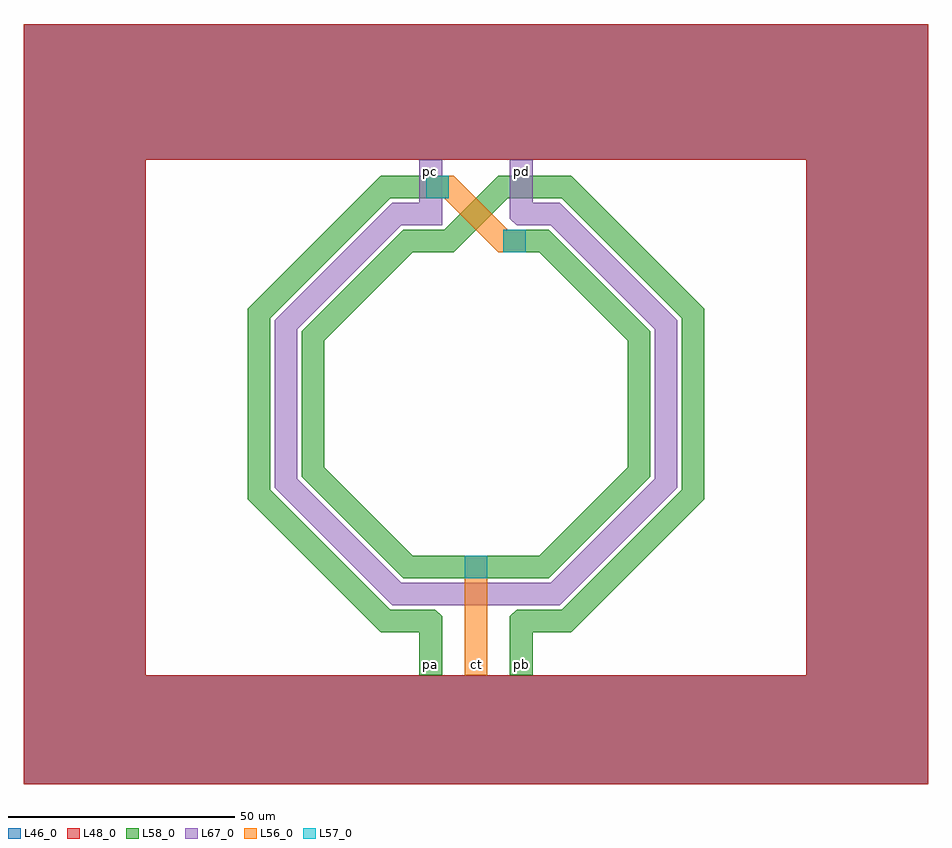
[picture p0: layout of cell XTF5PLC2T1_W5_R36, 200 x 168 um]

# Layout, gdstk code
import gdstk
lib = gdstk.Library(unit=1e-6, precision=1e-09)
def R(c, l, rs):  # rectangles x0, y0, x1, y1
    for r in rs: c.add(gdstk.rectangle(r[:2], r[2:], *l))
def P(c, l, *ps):  # polygons
    for p in ps: c.add(gdstk.Polygon(p, *l))
L46_0 = (46, 0)
L48_0 = (48, 0)
L56_0 = (56, 0)
L57_0 = (57, 0)
L58_0 = (58, 0)
L67_0 = (67, 0)

xtf5plc2t1_w5_r36 = lib.new_cell('XTF5PLC2T1_W5_R36')
P(xtf5plc2t1_w5_r36, L46_0, [(100,-84),(-100,-84),(-100,84),(73,84),(73,54),(-73,54),(-73,-60),(73,-60),(73,84),(100,84)])
P(xtf5plc2t1_w5_r36, L48_0, [(100,-84),(-100,-84),(-100,84),(73,84),(73,54),(-73,54),(-73,-60),(73,-60),(73,84),(100,84)])
R(xtf5plc2t1_w5_r36, L56_0, [(-2.5,-60,2.5,-33.5), (-2.5,-60,2.5,-55)])
P(xtf5plc2t1_w5_r36, L56_0, [(11,33.5),(4.965,33.5),(-7.035,45.5),(-11,45.5),(-11,50.5),(-4.965,50.5),(7.035,38.5),(11,38.5)])
R(xtf5plc2t1_w5_r36, L57_0, [(-2.5,-38.5,2.5,-33.5), (6,33.5,11,38.5), (-11,45.5,-6,50.5)])
R(xtf5plc2t1_w5_r36, L58_0, [(-12.5,-60,-7.5,-55), (7.5,-60,12.5,-55)])
P(xtf5plc2t1_w5_r36, L58_0, [(-6,45.5),(-18.97,45.5),(-45.5,18.97),(-45.5,-18.97),(-18.97,-45.5),(-8.965,-45.5),(-7.5,-46.965),(-7.5,-60),(-12.5,-60),(-12.5,-50.5),(-21.04,-50.5),(-50.5,-21.04),(-50.5,21.04),(-21.04,50.5),(-6,50.5)],
  [(50.5,-21.04),(21.04,-50.5),(12.5,-50.5),(12.5,-60),(7.5,-60),(7.5,-46.965),(8.965,-45.5),(18.97,-45.5),(45.5,-18.97),(45.5,18.97),(18.97,45.5),(7.035,45.5),(-4.965,33.5),(-13.97,33.5),(-33.5,13.97),(-33.5,-13.97),(-13.97,-33.5),(13.97,-33.5),(33.5,-13.97),(33.5,13.97),(13.97,33.5),(6,33.5),(6,38.5),(16.04,38.5),(38.5,16.04),(38.5,-16.04),(16.04,-38.5),(-16.04,-38.5),(-38.5,-16.04),(-38.5,16.04),(-16.04,38.5),(-7.035,38.5),(4.965,50.5),(21.04,50.5),(50.5,21.04)])
R(xtf5plc2t1_w5_r36, L67_0, [(-12.5,49,-7.5,54), (7.5,49,12.5,54)])
P(xtf5plc2t1_w5_r36, L67_0, [(44.5,-18.54),(18.54,-44.5),(-18.54,-44.5),(-44.5,-18.54),(-44.5,18.54),(-18.54,44.5),(-12.5,44.5),(-12.5,54),(-7.5,54),(-7.5,39.5),(-16.47,39.5),(-39.5,16.47),(-39.5,-16.47),(-16.47,-39.5),(16.47,-39.5),(39.5,-16.47),(39.5,16.47),(16.47,39.5),(8.965,39.5),(7.5,40.965),(7.5,54),(12.5,54),(12.5,44.5),(18.54,44.5),(44.5,18.54)])
xtf5plc2t1_w5_r36.add(gdstk.Label('pb', (10,-57.5), layer=58, texttype=0))
xtf5plc2t1_w5_r36.add(gdstk.Label('pa', (-10,-57.5), layer=58, texttype=0))
xtf5plc2t1_w5_r36.add(gdstk.Label('pd', (10,51.5), layer=67, texttype=0))
xtf5plc2t1_w5_r36.add(gdstk.Label('pc', (-10,51.5), layer=67, texttype=0))
xtf5plc2t1_w5_r36.add(gdstk.Label('ct', (0,-57.5), layer=56, texttype=0))

lib.write_gds('XTF5PLC2T1_W5_R36.gds')
